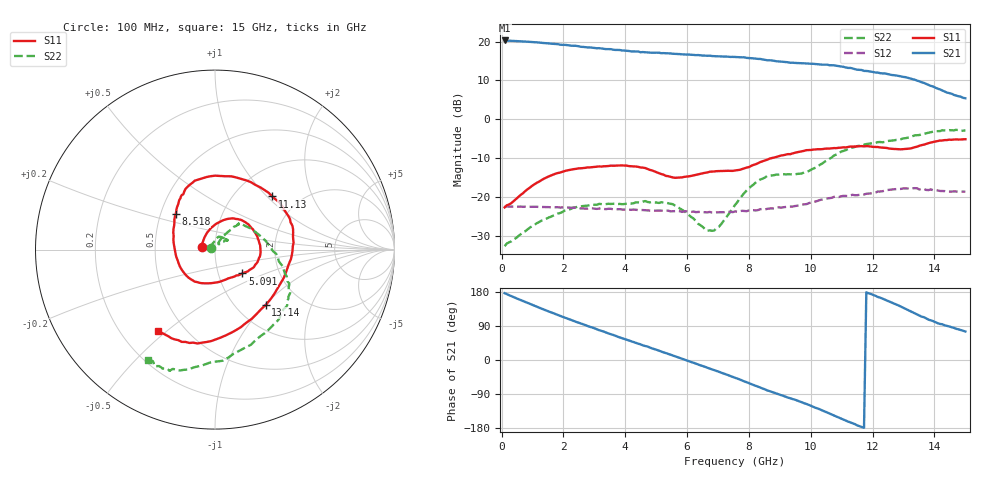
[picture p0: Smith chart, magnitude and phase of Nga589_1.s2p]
! Network Analyzer HP8722D.06.14 Serial No. US36140511
! Hewlett-Packard
!  9 Jun 1999  11:47:04
! Frequency  S11  S21  S12  S22
# HZ  S  DB R 50
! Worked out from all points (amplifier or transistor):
!   201 points, 100 MHz to 15 GHz, reference 50 ohm
!   highest |S21| = 20.3 dB at 100 MHz (marker M1)
!   |S21| within 3 dB of that: start of sweep to 4.481 GHz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
!   unconditionally stable (mu >= 1): start of sweep to 10.16 GHz
!   at 2.558 GHz: K = 1.06, MAG = 19.3 dB, |S12| = -23.0 dB
!   at 7.55 GHz: K = 1.34, MAG = 16.4 dB, |S12| = -23.7 dB
!   at 15 GHz: K = 0.86, MSG = 12.0 dB, |S12| = -18.6 dB
!   S11 on the Smith chart (normalised r, x): 100 MHz: 0.87, +0.03; 5.091 GHz: 1.30, -0.36; 8.518 GHz: 0.60, +0.26; 11.13 GHz: 1.47, +1.07; 13.14 GHz: 1.35, -1.01; 15 GHz: 0.36, -0.47
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1e8  -22.68 168.1  20.28 176.4  -22.51 -1.3  -32.66 162.0
6.215e8  -19.46 112.8  20.09 158.1  -22.47 -7.3  -29.59 120.4
1.292e9  -15.66 76.5  19.70 135.6  -22.60 -15.0  -26.10 89.3
2.037e9  -13.35 51.5  19.15 112.1  -22.67 -23.2  -23.53 79.4
2.633e9  -12.58 32.9  18.62 94.6  -22.96 -29.6  -22.34 69.0
3.1545e9  -12.14 16.4  18.30 78.8  -22.99 -36.7  -21.79 52.0
3.825e9  -11.89 -2.5  17.83 59.6  -23.14 -43.4  -21.79 36.8
5.0915e9  -13.88 -41.1  17.13 24.5  -23.50 -56.3  -21.54 42.2
5.762e9  -15.01 -72.8  16.77 5.4  -23.68 -63.1  -22.95 42.2
6.358e9  -14.18 -105.6  16.52 -11.9  -23.86 -69.7  -26.91 47.1
7.55e9  -13.18 -169.1  16.02 -46.7  -23.72 -78.4  -22.06 59.9
7.848e9  -12.65 171.0  15.95 -56.4  -23.61 -80.8  -18.99 54.7
8.5185e9  -10.60 137.9  15.28 -77.5  -23.21 -88.2  -15.00 48.0
9.2635e9  -8.97 121.4  14.67 -99.3  -22.48 -97.0  -14.15 47.4
1.0083e10  -7.81 96.7  14.27 -123.7  -21.22 -106.1  -12.69 30.6
1.07535e10  -7.42 62.0  13.87 -146.5  -19.96 -121.2  -9.31 -4.0
1.1126e10  -7.24 43.0  13.34 -159.5  -19.74 -130.1  -7.97 -16.4
1.16475e10  -6.91 22.1  12.68 -176.8  -19.36 -142.9  -6.73 -27.0
1.25415e10  -7.54 -10.7  11.55 154.2  -18.15 -165.2  -5.55 -48.5
1.31375e10  -7.57 -47.4  10.66 132.2  -17.82 174.9  -4.73 -76.6
1.4106e10  -5.61 -98.3  7.88 97.0  -18.33 145.7  -3.05 -107.1
1.5e10  -5.14 -125.2  5.41 75.2  -18.65 125.1  -2.86 -121.4
